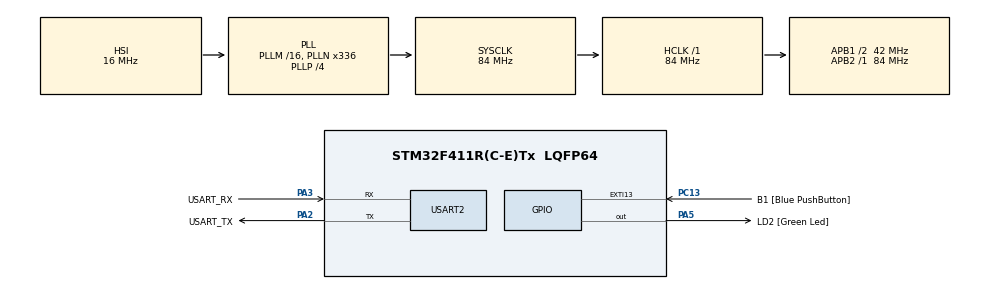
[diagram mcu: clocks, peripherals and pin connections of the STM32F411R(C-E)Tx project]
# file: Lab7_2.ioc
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Dma.Request0=USART2_RX
Dma.Request1=USART2_TX
Dma.USART2_RX.0.Direction=DMA_PERIPH_TO_MEMORY
Dma.USART2_RX.0.FIFOMode=DMA_FIFOMODE_DISABLE
Dma.USART2_RX.0.Instance=DMA1_Stream5
Dma.USART2_RX.0.MemDataAlignment=DMA_MDATAALIGN_BYTE
Dma.USART2_RX.0.MemInc=DMA_MINC_ENABLE
Dma.USART2_RX.0.Mode=DMA_NORMAL
Dma.USART2_RX.0.PeriphDataAlignment=DMA_PDATAALIGN_BYTE
Dma.USART2_RX.0.PeriphInc=DMA_PINC_DISABLE
Dma.USART2_RX.0.Priority=DMA_PRIORITY_LOW
Dma.USART2_TX.1.Direction=DMA_MEMORY_TO_PERIPH
Dma.USART2_TX.1.FIFOMode=DMA_FIFOMODE_DISABLE
Dma.USART2_TX.1.Instance=DMA1_Stream6
Dma.USART2_TX.1.MemDataAlignment=DMA_MDATAALIGN_BYTE
Dma.USART2_TX.1.MemInc=DMA_MINC_ENABLE
Dma.USART2_TX.1.Mode=DMA_NORMAL
Dma.USART2_TX.1.PeriphDataAlignment=DMA_PDATAALIGN_BYTE
Dma.USART2_TX.1.PeriphInc=DMA_PINC_DISABLE
Dma.USART2_TX.1.Priority=DMA_PRIORITY_HIGH
Mcu.Family=STM32F4
Mcu.Name=STM32F411R(C-E)Tx
Mcu.Package=LQFP64
NVIC.DMA1_Stream5_IRQn=true\:0\:0\:false\:false\:true\:false\:true\:true
NVIC.DMA1_Stream6_IRQn=true\:0\:0\:false\:false\:true\:false\:true\:true
NVIC.PriorityGroup=NVIC_PRIORITYGROUP_0
NVIC.USART2_IRQn=true\:0\:0\:false\:false\:true\:true\:true\:true
PA13.GPIO_Label=TMS
PA13.Mode=Serial_Wire
PA13.Signal=SYS_JTMS-SWDIO
PA14.GPIO_Label=TCK
PA14.Mode=Serial_Wire
PA14.Signal=SYS_JTCK-SWCLK
PA2.GPIO_Label=USART_TX
PA2.Mode=Asynchronous
PA2.Signal=USART2_TX
PA3.GPIO_Label=USART_RX
PA3.Mode=Asynchronous
PA3.Signal=USART2_RX
PA5.GPIO_Label=LD2 [Green Led]
PA5.Signal=GPIO_Output
PB3.GPIO_Label=SWO
PB3.Signal=SYS_JTDO-SWO
PC13-ANTI_TAMP.GPIO_Label=B1 [Blue PushButton]
PC13-ANTI_TAMP.GPIO_ModeDefaultEXTI=GPIO_MODE_IT_FALLING
PC13-ANTI_TAMP.Signal=GPXTI13
PC14-OSC32_IN.Mode=LSE-External-Oscillator
PC14-OSC32_IN.Signal=RCC_OSC32_IN
PC15-OSC32_OUT.Mode=LSE-External-Oscillator
PC15-OSC32_OUT.Signal=RCC_OSC32_OUT
PH0\ -\ OSC_IN.Mode=HSE-External-Clock-Source
PH0\ -\ OSC_IN.Signal=RCC_OSC_IN
PH1\ -\ OSC_OUT.Mode=HSE-External-Clock-Source
PH1\ -\ OSC_OUT.Signal=RCC_OSC_OUT
ProjectManager.HeapSize=0x200
ProjectManager.StackSize=0x400
ProjectManager.TargetToolchain=STM32CubeIDE
RCC.48MHZClocksFreq_Value=84000000
RCC.AHBFreq_Value=84000000
RCC.APB1CLKDivider=RCC_HCLK_DIV2
RCC.APB1Freq_Value=42000000
RCC.APB1TimFreq_Value=84000000
RCC.APB2Freq_Value=84000000
RCC.APB2TimFreq_Value=84000000
RCC.CortexFreq_Value=84000000
RCC.FLatency-AdvancedSettings=FLASH_LATENCY_2
RCC.HCLKFreq_Value=84000000
RCC.HSE_VALUE=8000000
RCC.HSI_VALUE=16000000
RCC.PLLN=336
RCC.PLLP=RCC_PLLP_DIV4
RCC.SYSCLKFreq_VALUE=84000000
RCC.SYSCLKSource=RCC_SYSCLKSOURCE_PLLCLK
RCC.VCOOutputFreq_Value=336000000
USART2.VirtualMode=VM_ASYNC
board=NUCLEO-F411RE

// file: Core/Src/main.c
/* USER CODE BEGIN Header */
/**
  ******************************************************************************
  * @file           : main.c
  * @brief          : Main program body
  ******************************************************************************
  * @attention
  *
  * Copyright (c) 2023 STMicroelectronics.
  * All rights reserved.
  *
  * This software is licensed under terms that can be found in the LICENSE file
  * in the root directory of this software component.
  * If no LICENSE file comes with this software, it is provided AS-IS.
  *
  ******************************************************************************
  */
/* USER CODE END Header */
#include "main.h"

UART_HandleTypeDef huart2;
DMA_HandleTypeDef hdma_usart2_rx;
DMA_HandleTypeDef hdma_usart2_tx;

void SystemClock_Config(void);
static void MX_GPIO_Init(void);
static void MX_DMA_Init(void);
static void MX_USART2_UART_Init(void);

/* USER CODE BEGIN 0 */
uint8_t data[256],buffer[256];
/* USER CODE END 0 */

int main(void)
{

  /* MCU Configuration--------------------------------------------------------*/

  /* Reset of all peripherals, Initializes the Flash interface and the Systick. */
  HAL_Init();

  /* Configure the system clock */
  SystemClock_Config();

  /* Initialize all configured peripherals */
  MX_GPIO_Init();
  MX_DMA_Init();
  MX_USART2_UART_Init();
  /* USER CODE BEGIN 2 */
  HAL_UART_Receive_DMA(&huart2, buffer, 256);
  /* USER CODE END 2 */

  /* Infinite loop */
  /* USER CODE BEGIN WHILE */
  while (1)
  {
	  HAL_GPIO_TogglePin(GPIOA, GPIO_PIN_5);
	  HAL_Delay(200);
    /* USER CODE END WHILE */

  }
}

void SystemClock_Config(void)
{
  RCC_OscInitTypeDef RCC_OscInitStruct = {0};
  RCC_ClkInitTypeDef RCC_ClkInitStruct = {0};

  /** Configure the main internal regulator output voltage
  */
  __HAL_RCC_PWR_CLK_ENABLE();
  __HAL_PWR_VOLTAGESCALING_CONFIG(PWR_REGULATOR_VOLTAGE_SCALE1);

  /** Initializes the RCC Oscillators according to the specified parameters
  * in the RCC_OscInitTypeDef structure.
  */
  RCC_OscInitStruct.OscillatorType = RCC_OSCILLATORTYPE_HSI;
  RCC_OscInitStruct.HSIState = RCC_HSI_ON;
  RCC_OscInitStruct.HSICalibrationValue = RCC_HSICALIBRATION_DEFAULT;
  RCC_OscInitStruct.PLL.PLLState = RCC_PLL_ON;
  RCC_OscInitStruct.PLL.PLLSource = RCC_PLLSOURCE_HSI;
  RCC_OscInitStruct.PLL.PLLM = 16;
  RCC_OscInitStruct.PLL.PLLN = 336;
  RCC_OscInitStruct.PLL.PLLP = RCC_PLLP_DIV4;
  RCC_OscInitStruct.PLL.PLLQ = 4;
  if (HAL_RCC_OscConfig(&RCC_OscInitStruct) != HAL_OK)
  {
    Error_Handler();
  }

  /** Initializes the CPU, AHB and APB buses clocks
  */
  RCC_ClkInitStruct.ClockType = RCC_CLOCKTYPE_HCLK|RCC_CLOCKTYPE_SYSCLK
                              |RCC_CLOCKTYPE_PCLK1|RCC_CLOCKTYPE_PCLK2;
  RCC_ClkInitStruct.SYSCLKSource = RCC_SYSCLKSOURCE_PLLCLK;
  RCC_ClkInitStruct.AHBCLKDivider = RCC_SYSCLK_DIV1;
  RCC_ClkInitStruct.APB1CLKDivider = RCC_HCLK_DIV2;
  RCC_ClkInitStruct.APB2CLKDivider = RCC_HCLK_DIV1;

  if (HAL_RCC_ClockConfig(&RCC_ClkInitStruct, FLASH_LATENCY_2) != HAL_OK)
  {
    Error_Handler();
  }
}

static void MX_USART2_UART_Init(void)
{

  huart2.Instance = USART2;
  huart2.Init.BaudRate = 115200;
  huart2.Init.WordLength = UART_WORDLENGTH_8B;
  huart2.Init.StopBits = UART_STOPBITS_1;
  huart2.Init.Parity = UART_PARITY_NONE;
  huart2.Init.Mode = UART_MODE_TX_RX;
  huart2.Init.HwFlowCtl = UART_HWCONTROL_NONE;
  huart2.Init.OverSampling = UART_OVERSAMPLING_16;
  if (HAL_UART_Init(&huart2) != HAL_OK)
  {
    Error_Handler();
  }

}

static void MX_DMA_Init(void)
{

  /* DMA controller clock enable */
  __HAL_RCC_DMA1_CLK_ENABLE();

  /* DMA interrupt init */
  /* DMA1_Stream5_IRQn interrupt configuration */
  HAL_NVIC_SetPriority(DMA1_Stream5_IRQn, 0, 0);
  HAL_NVIC_EnableIRQ(DMA1_Stream5_IRQn);
  /* DMA1_Stream6_IRQn interrupt configuration */
  HAL_NVIC_SetPriority(DMA1_Stream6_IRQn, 0, 0);
  HAL_NVIC_EnableIRQ(DMA1_Stream6_IRQn);

}

static void MX_GPIO_Init(void)
{
  GPIO_InitTypeDef GPIO_InitStruct = {0};

  /* GPIO Ports Clock Enable */
  __HAL_RCC_GPIOC_CLK_ENABLE();
  __HAL_RCC_GPIOH_CLK_ENABLE();
  __HAL_RCC_GPIOA_CLK_ENABLE();
  __HAL_RCC_GPIOB_CLK_ENABLE();

  /*Configure GPIO pin Output Level */
  HAL_GPIO_WritePin(LD2_GPIO_Port, LD2_Pin, GPIO_PIN_RESET);

  /*Configure GPIO pin : B1_Pin */
  GPIO_InitStruct.Pin = B1_Pin;
  GPIO_InitStruct.Mode = GPIO_MODE_IT_FALLING;
  GPIO_InitStruct.Pull = GPIO_NOPULL;
  HAL_GPIO_Init(B1_GPIO_Port, &GPIO_InitStruct);

  /*Configure GPIO pin : LD2_Pin */
  GPIO_InitStruct.Pin = LD2_Pin;
  GPIO_InitStruct.Mode = GPIO_MODE_OUTPUT_PP;
  GPIO_InitStruct.Pull = GPIO_NOPULL;
  GPIO_InitStruct.Speed = GPIO_SPEED_FREQ_LOW;
  HAL_GPIO_Init(LD2_GPIO_Port, &GPIO_InitStruct);

}

/* USER CODE BEGIN 4 */
void HAL_UART_TxHalfCpltCallback(UART_HandleTypeDef *huart) {
	// nothing to do
}
void HAL_UART_TxCpltCallback(UART_HandleTypeDef *huart) {

}
void HAL_UART_RxHalfCpltCallback(UART_HandleTypeDef *huart) {
	// nothing to do
	int i;
	for(i=0;i<128;i++){
		data[i] = buffer[i];
	}
}
void HAL_UART_RxCpltCallback(UART_HandleTypeDef *huart) {

	int i;
	for(i=128;i<256;i++){
		data[i] = buffer[i];
	}
	HAL_UART_Transmit_DMA(&huart2, data, 256);
	HAL_UART_Receive_DMA(&huart2, buffer, 256);
}
/* USER CODE END 4 */

void Error_Handler(void)
{
  __disable_irq();
  while (1)
  {
  }
}
